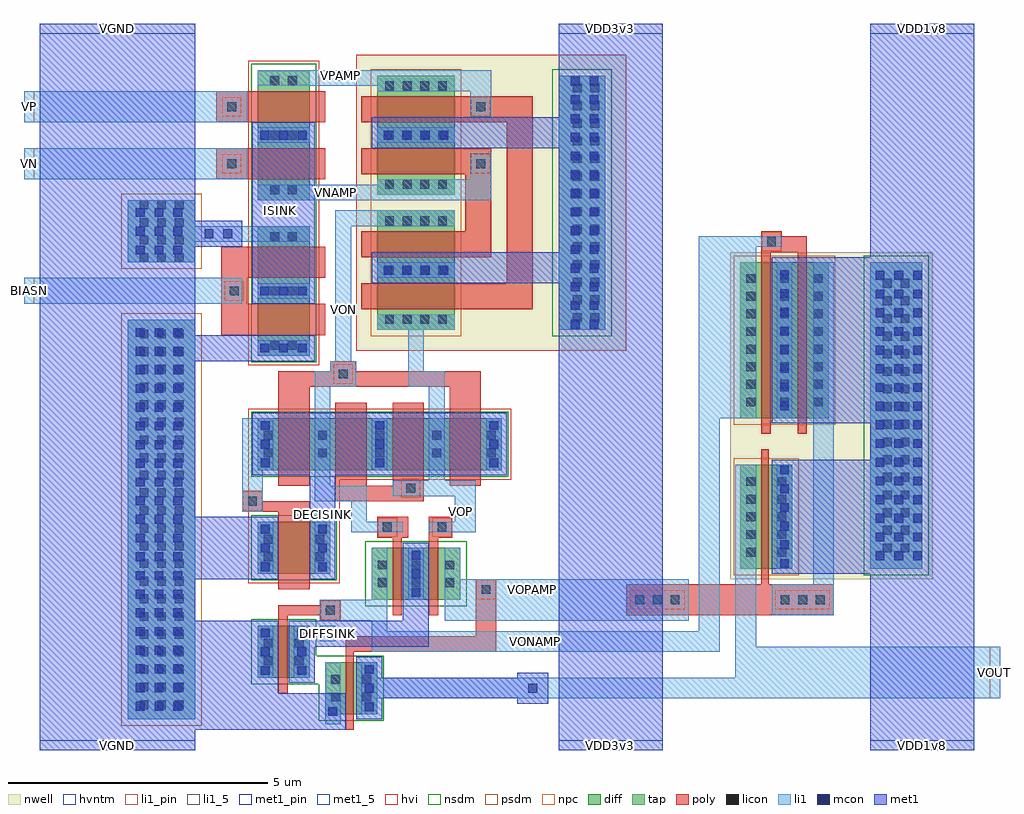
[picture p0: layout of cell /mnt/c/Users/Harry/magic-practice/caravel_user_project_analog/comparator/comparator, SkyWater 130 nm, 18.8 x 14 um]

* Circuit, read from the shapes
.subckt /mnt/c/Users/Harry/magic-practice/caravel_user_project_analog/comparator/comparator BIASN DECISINK DIFFSINK ISINK VDD1v8 VDD3v3 VGND VN VNAMP VON VONAMP VOP VOPAMP VOUT VP VPAMP
XM1 ISINK BIASN VGND VGND sky130_fd_pr__nfet_g5v0d10v5 w=1 l=0.6 m=2
XM2 ISINK VN VNAMP VGND sky130_fd_pr__nfet_g5v0d10v5 w=1 l=0.6
XM3 VPAMP VP ISINK VGND sky130_fd_pr__nfet_g5v0d10v5 w=1 l=0.6
XM4 DIFFSINK VONAMP VGND VGND sky130_fd_pr__nfet_01v8 w=1 l=0.18
XM5 DECISINK DECISINK VGND VGND sky130_fd_pr__nfet_g5v0d10v5 w=1 l=0.6
XM6 VON VON DECISINK VGND sky130_fd_pr__nfet_g5v0d10v5 w=1 l=0.6
XM7 DECISINK VOP VON VGND sky130_fd_pr__nfet_g5v0d10v5 w=1 l=0.6
XM8 VOUT VOPAMP VGND VGND sky130_fd_pr__nfet_01v8 w=1 l=0.15
XM9 DIFFSINK VON VONAMP VGND sky130_fd_pr__nfet_01v8 w=1 l=0.18
XM10 VOP VOP DECISINK VGND sky130_fd_pr__nfet_g5v0d10v5 w=1 l=0.6
XM11 VOPAMP VOP DIFFSINK VGND sky130_fd_pr__nfet_01v8 w=1 l=0.18
XM12 DECISINK VON VOP VGND sky130_fd_pr__nfet_g5v0d10v5 w=1 l=0.6
XM13 VDD3v3 VPAMP VOP VDD3v3 sky130_fd_pr__pfet_g5v0d10v5 w=1.5 l=0.5
XM14 VON VNAMP VDD3v3 VDD3v3 sky130_fd_pr__pfet_g5v0d10v5 w=1.5 l=0.5
XM15 VDD3v3 VNAMP VNAMP VDD3v3 sky130_fd_pr__pfet_g5v0d10v5 w=1.5 l=0.5
XM16 VPAMP VPAMP VDD3v3 VDD3v3 sky130_fd_pr__pfet_g5v0d10v5 w=1.5 l=0.5
XM17 VDD1v8 VOPAMP VOUT VDD1v8 sky130_fd_pr__pfet_01v8 w=2 l=0.15
XM18 VDD1v8 VONAMP VONAMP VDD1v8 sky130_fd_pr__pfet_01v8 w=3 l=0.18
XM19 VOPAMP VONAMP VDD1v8 VDD1v8 sky130_fd_pr__pfet_01v8 w=3 l=0.18
.ends

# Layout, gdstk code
import gdstk
lib = gdstk.Library(unit=1e-6, precision=1e-09)
def R(c, l, rs):  # rectangles x0, y0, x1, y1
    for r in rs: c.add(gdstk.rectangle(r[:2], r[2:], *l))
def A(c, l, x, y, w, h, nx, ny, dx, dy):  # array of equal rectangles
    R(c, l, [(x+i*dx, y+j*dy, x+i*dx+w, y+j*dy+h) for i in range(nx) for j in range(ny)])
nwell = (64, 20)
diff = (65, 20)
tap = (65, 44)
poly = (66, 20)
licon = (66, 44)
li1_5 = (67, 5)
li1_pin = (67, 16)
li1 = (67, 20)
mcon = (67, 44)
met1_5 = (68, 5)
met1_pin = (68, 16)
met1 = (68, 20)
hvi = (75, 20)
nsdm = (93, 44)
psdm = (94, 20)
npc = (95, 20)
hvntm = (125, 20)

c__mnt_c_users_harry_magic = lib.new_cell('/mnt/c/Users/Harry/magic-practice/caravel_user_project_analog/comparator/comparator')
R(c__mnt_c_users_harry_magic, nwell, [(9.3,-7.7,13.2,-1.4), (2.1,-3.3,7.3,2.4)])
R(c__mnt_c_users_harry_magic, diff, [(1.5,-10.3,2.5,-9.3), (0.2,-9.6,1.2,-8.6), (2.4,-8.1,4.1,-7.1), (0.2,-7.6,1.6,-6.6), (9.5,-7.5,10.5,-5.5), (0.2,-5.6,4.9,-4.6), (9.5,-4.6,11.2,-1.6), (0.2,-3.4,1.2,-0.9), (2.5,-2.9,4,-0.6), (0.2,-0.4,1.2,2.1), (2.5,-0.3,4,2)])
R(c__mnt_c_users_harry_magic, tap, [(-2.3,-10.4,-1,-2.7), (12,-7.5,13,-1.6), (6,-2.9,6.9,2), (-2.3,-1.6,-1,-0.4)])
R(c__mnt_c_users_harry_magic, poly, [(1.9,-10.6,2.05,-9.1), (0.6,-9.9,0.78,-8.4), (1.9,-9.1,4.8,-8.8), (4.4,-8.8,4.8,-7.7), (1.4,-8.5,1.8,-8.4), (0.6,-8.4,1.8,-8.2), (2.8,-8.4,2.98,-6.9), (3.5,-8.4,3.68,-6.9), (7.3,-8.4,11.3,-7.8), (1.4,-8.2,1.8,-8.1), (0.6,-7.9,1.2,-6.4), (9.9,-7.8,10.05,-5.2), (2.5,-6.9,3.1,-6.5), (3.5,-6.9,3.95,-6.5), (-0.1,-6.4,1.2,-6.2), (-0.1,-6.2,0.3,-6), (1.7,-6.2,3.4,-5.9), (0.6,-5.9,1.2,-4), (1.7,-5.9,2.3,-4.3), (2.8,-5.9,3.4,-4.3), (3.9,-5.9,4.5,-4), (9.9,-4.9,10.08,-1.4), (10.6,-4.9,10.78,-1.4), (0.6,-4,4.5,-3.7), (1.6,-3.7,2.1,-3.5), (-0.5,-3,1.5,-2.4), (2.2,-2.5,5.5,-2), (-0.5,-2.4,0,-1.9), (5,-2,5.5,1.1), (-0.5,-1.9,1.5,-1.3), (2.2,-1.5,4.7,-1), (9.9,-1.4,10.78,-1.1), (9.9,-1.1,10.3,-1), (4.2,-1,4.7,0.1), (-0.6,0,1.5,0.6), (2.2,0.1,4.7,0.6), (-0.6,1.1,1.5,1.7), (2.2,1.1,5.5,1.6)])
A(c__mnt_c_users_harry_magic, licon, -2.075, -10.205, 0.17, 0.17, 3, 22, 0.34, 0.34)
A(c__mnt_c_users_harry_magic, licon, 7.475, -8.185, 0.17, 0.17, 3, 1, 0.34, 0)
A(c__mnt_c_users_harry_magic, licon, 10.275, -8.185, 0.17, 0.17, 3, 1, 0.34, 0)
A(c__mnt_c_users_harry_magic, licon, 2.515, -7.855, 0.17, 0.17, 3, 2, 0.65, 0.34)
A(c__mnt_c_users_harry_magic, licon, 9.615, -7.265, 0.17, 0.17, 1, 5, 0, 0.34)
A(c__mnt_c_users_harry_magic, licon, 10.215, -7.265, 0.17, 0.17, 1, 5, 0, 0.34)
A(c__mnt_c_users_harry_magic, licon, 12.245, -7.185, 0.17, 0.17, 1, 16, 0, 0.34)
A(c__mnt_c_users_harry_magic, licon, 12.585, -7.185, 0.17, 0.17, 1, 16, 0, 0.34)
A(c__mnt_c_users_harry_magic, licon, 1.365, -5.355, 0.17, 0.17, 3, 2, 1.1, 0.34)
A(c__mnt_c_users_harry_magic, licon, 9.615, -4.375, 0.17, 0.17, 3, 8, 0.65, 0.34)
A(c__mnt_c_users_harry_magic, licon, 0.445, -3.285, 0.17, 0.17, 1, 3, 0, 1.05)
A(c__mnt_c_users_harry_magic, licon, 0.785, -3.285, 0.17, 0.17, 1, 3, 0, 1.05)
A(c__mnt_c_users_harry_magic, licon, 2.655, -2.785, 0.17, 0.17, 4, 3, 0.34, 0.95)
A(c__mnt_c_users_harry_magic, licon, 6.27, -2.745, 0.17, 0.17, 1, 14, 0, 0.34)
A(c__mnt_c_users_harry_magic, licon, 6.61, -2.745, 0.17, 0.17, 1, 14, 0, 0.34)
A(c__mnt_c_users_harry_magic, licon, -2.075, -1.595, 0.17, 0.17, 3, 4, 0.34, 0.34)
A(c__mnt_c_users_harry_magic, licon, 0.445, -0.285, 0.17, 0.17, 1, 3, 0, 1.05)
A(c__mnt_c_users_harry_magic, licon, 0.785, -0.285, 0.17, 0.17, 1, 3, 0, 1.05)
A(c__mnt_c_users_harry_magic, licon, 2.655, -0.185, 0.17, 0.17, 4, 3, 0.34, 0.95)
R(c__mnt_c_users_harry_magic, licon, [(1.615,-10.055,1.785,-9.885), (2.215,-10.055,2.385,-9.885), (1.615,-9.715,1.785,-9.545), (2.215,-9.715,2.385,-9.545), (0.315,-9.355,0.485,-9.185), (0.915,-9.355,1.085,-9.185), (0.315,-9.015,0.485,-8.845), (0.915,-9.015,1.085,-8.845), (1.515,-8.385,1.685,-8.215), (4.515,-7.985,4.685,-7.815), (0.315,-7.355,0.485,-7.185), (1.315,-7.355,1.485,-7.185), (0.315,-7.015,0.485,-6.845), (1.315,-7.015,1.485,-6.845), (2.615,-6.785,2.785,-6.615), (3.665,-6.785,3.835,-6.615), (0.015,-6.285,0.185,-6.115), (3.065,-6.035,3.235,-5.865), (0.315,-5.355,0.485,-5.185), (4.615,-5.355,4.785,-5.185), (0.315,-5.015,0.485,-4.845), (4.615,-5.015,4.785,-4.845), (1.765,-3.835,1.935,-3.665), (-0.335,-2.235,-0.165,-2.065), (10.015,-1.285,10.185,-1.115), (-0.385,0.215,-0.215,0.385), (4.415,0.215,4.585,0.385), (-0.385,1.315,-0.215,1.485), (4.415,1.315,4.585,1.485)])
R(c__mnt_c_users_harry_magic, li1_5, [(5.4,-9,5.7,-8.8), (5.4,-8,5.6,-7.8), (4,-6.5,4.2,-6.3), (1.8,-2.6,1.9,-2.4), (1.6,-0.3,1.8,-0.2), (1.7,1.9,1.9,2.1)])
R(c__mnt_c_users_harry_magic, li1_pin, [(14.3,-10,14.5,-9), (-4.3,-2.4,-4.1,-1.9), (-4.3,0,-4.1,0.6), (-4.3,1.1,-4.1,1.7)])
R(c__mnt_c_users_harry_magic, li1, [(1.5,-10.5,1.8,-9.3), (-2.3,-10.4,-1,-2.7), (2.2,-10.3,2.5,-10), (2.2,-10,14.5,-9.6), (0.2,-9.6,0.5,-8.6), (0.9,-9.6,1.2,-8.6), (2.2,-9.6,2.5,-9.3), (9.4,-9.6,14.5,-9), (2.4,-9.1,9.1,-8.7), (9.4,-9,9.8,-5.5), (2.4,-8.7,2.7,-8.5), (8.7,-8.7,9.1,-4.6), (1.4,-8.5,2.7,-8.1), (3.8,-8.5,8.5,-7.7), (10.1,-8.4,11.3,-7.8), (2.4,-8.1,2.7,-7.1), (3.1,-8.1,3.4,-7.1), (10.9,-7.8,11.3,-1.6), (3.8,-7.7,4.1,-7.1), (0.2,-7.6,0.5,-6.6), (1.3,-7.6,1.6,-6.6), (10.2,-7.5,10.5,-5.5), (12,-7.5,13,-1.6), (2,-6.8,3,-6.6), (3.5,-6.8,4.4,-6.6), (2,-6.6,2.3,-6.2), (4,-6.6,4.4,-6.1), (-0.1,-6.4,0.3,-5.6), (1.3,-6.2,2.3,-5.9), (2.8,-6.1,4.4,-5.8), (1.3,-5.9,1.6,-4), (3.5,-5.8,3.8,-4), (-0.1,-5.6,0.5,-4.6), (2.4,-5.6,2.7,-4.6), (4.6,-5.6,4.9,-4.6), (8.7,-4.6,9.8,-1.3), (10.2,-4.6,10.5,-1.6), (1.3,-4,2.1,-3.7), (3.1,-4,3.8,-3.7), (1.6,-3.7,2.1,-3.5), (3.1,-3.7,3.4,-2.9), (1.7,-3.5,2,-0.9), (0.2,-3.4,1.2,-3.1), (2.5,-2.9,4,-2.6), (6,-2.9,6.9,2), (-4.3,-2.4,-0.1,-1.9), (0.2,-2.3,1.2,-2), (2.5,-1.9,4,-1.6), (-2.3,-1.6,-1,-1.2), (8.7,-1.3,10.3,-1.1), (-2.3,-1.2,1.2,-0.9), (-2.3,-0.9,-1,-0.4), (1.7,-0.9,4,-0.6), (0.2,-0.4,4.7,-0.1), (2.5,-0.1,4.7,0), (-4.3,0,0,0.6), (4.3,0,4.7,0.5), (0.2,0.7,1.2,1), (2.5,0.7,4,1), (-4.3,1.1,0,1.7), (4.3,1.2,4.7,1.7), (2.5,1.7,4.7,1.8), (0.2,1.8,4.7,2.1)])
A(c__mnt_c_users_harry_magic, mcon, 2.265, -10.245, 0.17, 0.17, 1, 3, 0, 0.36)
A(c__mnt_c_users_harry_magic, mcon, -2.145, -10.235, 0.17, 0.17, 3, 21, 0.36, 0.36)
A(c__mnt_c_users_harry_magic, mcon, 0.265, -9.545, 0.17, 0.17, 1, 3, 0, 0.36)
A(c__mnt_c_users_harry_magic, mcon, 0.965, -9.545, 0.17, 0.17, 1, 3, 0, 0.36)
A(c__mnt_c_users_harry_magic, mcon, 3.165, -8.045, 0.17, 0.17, 1, 3, 0, 0.36)
A(c__mnt_c_users_harry_magic, mcon, 0.265, -7.545, 0.17, 0.17, 1, 3, 0, 0.36)
A(c__mnt_c_users_harry_magic, mcon, 1.365, -7.545, 0.17, 0.17, 1, 3, 0, 0.36)
A(c__mnt_c_users_harry_magic, mcon, 10.265, -7.485, 0.17, 0.17, 1, 6, 0, 0.36)
A(c__mnt_c_users_harry_magic, mcon, 12.105, -7.335, 0.17, 0.17, 3, 16, 0.36, 0.36)
A(c__mnt_c_users_harry_magic, mcon, 0.265, -5.545, 0.17, 0.17, 3, 3, 2.2, 0.36)
A(c__mnt_c_users_harry_magic, mcon, 10.265, -4.445, 0.17, 0.17, 1, 8, 0, 0.36)
A(c__mnt_c_users_harry_magic, mcon, 0.255, -3.335, 0.17, 0.17, 3, 2, 0.36, 1.1)
A(c__mnt_c_users_harry_magic, mcon, 6.235, -2.875, 0.17, 0.17, 1, 14, 0, 0.36)
A(c__mnt_c_users_harry_magic, mcon, 6.595, -2.875, 0.17, 0.17, 1, 14, 0, 0.36)
A(c__mnt_c_users_harry_magic, mcon, 2.625, -1.835, 0.17, 0.17, 4, 2, 0.36, 2.6)
A(c__mnt_c_users_harry_magic, mcon, -2.145, -1.445, 0.17, 0.17, 3, 3, 0.36, 0.36)
A(c__mnt_c_users_harry_magic, mcon, 0.255, 0.765, 0.17, 0.17, 3, 1, 0.36, 0)
R(c__mnt_c_users_harry_magic, mcon, [(1.565,-10.335,1.735,-10.165), (5.415,-9.885,5.585,-9.715), (-0.82,-1.135,-0.65,-0.965), (-0.46,-1.135,-0.29,-0.965)])
R(c__mnt_c_users_harry_magic, met1_5, [(1.4,-8.9,1.7,-8.6), (1.4,-6.5,1.5,-6.4), (0.5,-0.7,0.8,-0.5)])
R(c__mnt_c_users_harry_magic, met1_pin, [(-4,-11,-1,-10.8), (6,-11,8,-10.8), (12,-11,14,-10.8), (-4,2.8,-1,3), (6,2.8,8,3), (12,2.8,14,3)])
R(c__mnt_c_users_harry_magic, met1, [(-4,-11,-1,-10.6), (6,-11,8,-2), (12,-11,14,-7.6), (-4,-10.6,1.9,-9.9), (2.1,-10.4,2.6,-10), (5.2,-10.1,5.8,-10), (2.1,-10,5.8,-9.6), (-4,-9.9,0.6,-8.5), (0.8,-9.7,1.3,-9), (2.1,-9.6,2.6,-9.2), (5.2,-9.6,5.8,-9.5), (0.8,-9,3.5,-8.5), (-4,-8.5,-1,-7.7), (3,-8.5,3.5,-7), (-4,-7.7,0.6,-6.5), (1.2,-7.7,1.7,-5.7), (10.1,-7.6,14,-5.4), (-4,-6.5,-1,-3.5), (0.1,-5.7,5,-4.5), (12,-5.4,14,-4.7), (10.1,-4.7,14,-1.5), (-4,-3.5,1.3,-3), (-4,-3,-1,-1.3), (0.1,-2.4,1.3,1.1), (2.4,-2,8,-1.4), (12,-1.5,14,3), (6,-1.4,8,0.6), (-4,-1.3,-0.1,-0.8), (-4,-0.8,-1,3), (2.4,0.6,8,1.2), (6,1.2,8,3)])
R(c__mnt_c_users_harry_magic, hvi, [(0.015,-7.785,1.785,-5.785), (0.015,-5.785,5.085,-4.415), (0.015,-3.585,1.385,2.285), (2.1,-3.3,7.3,2.4)])
R(c__mnt_c_users_harry_magic, nsdm, [(1.375,-10.425,2.625,-9.725), (0.075,-9.725,2.625,-9.175), (0.075,-9.175,1.325,-8.475), (2.275,-8.225,4.225,-6.975), (0.075,-7.725,1.725,-6.475), (11.875,-7.625,13.125,-1.475), (0.075,-5.725,5.025,-4.475), (0.075,-3.525,1.325,2.225), (5.875,-3.025,7.025,2.125)])
R(c__mnt_c_users_harry_magic, psdm, [(-2.425,-10.525,-0.875,-2.575), (9.375,-7.625,10.625,-5.375), (9.375,-4.725,11.325,-1.475), (2.375,-3.025,4.125,2.125), (-2.425,-1.725,-0.875,-0.275)])
R(c__mnt_c_users_harry_magic, npc, [(1.415,-8.485,1.785,-8.115), (7.375,-8.285,8.425,-7.915), (10.175,-8.285,11.225,-7.915), (4.415,-8.085,4.785,-7.715), (2.515,-6.885,2.885,-6.515), (3.565,-6.885,3.935,-6.515), (-0.085,-6.385,0.285,-6.015), (2.965,-6.135,3.335,-5.765), (1.665,-3.935,2.035,-3.565), (-0.435,-2.335,-0.065,-1.965), (9.915,-1.385,10.285,-1.015), (-0.485,0.115,-0.115,0.485), (4.315,0.115,4.685,0.485), (-0.485,1.215,-0.115,1.585), (4.315,1.215,4.685,1.585)])
R(c__mnt_c_users_harry_magic, hvntm, [(0.015,-7.785,1.785,-5.785), (0.015,-5.785,5.085,-4.415), (0.015,-3.585,1.385,2.285)])
c__mnt_c_users_harry_magic.add(gdstk.Label('VOPAMP', (5.5,-7.9), layer=67, texttype=5))
c__mnt_c_users_harry_magic.add(gdstk.Label('VOP', (4.1,-6.4), layer=67, texttype=5))
c__mnt_c_users_harry_magic.add(gdstk.Label('VPAMP', (1.8,2), layer=67, texttype=5))
c__mnt_c_users_harry_magic.add(gdstk.Label('VNAMP', (1.7,-0.25), layer=67, texttype=5))
c__mnt_c_users_harry_magic.add(gdstk.Label('VON', (1.85,-2.5), layer=67, texttype=5))
c__mnt_c_users_harry_magic.add(gdstk.Label('ISINK', (0.65,-0.6), layer=68, texttype=5))
c__mnt_c_users_harry_magic.add(gdstk.Label('DECISINK', (1.45,-6.45), layer=68, texttype=5))
c__mnt_c_users_harry_magic.add(gdstk.Label('VONAMP', (5.55,-8.9), layer=67, texttype=5))
c__mnt_c_users_harry_magic.add(gdstk.Label('DIFFSINK', (1.55,-8.75), layer=68, texttype=5))
c__mnt_c_users_harry_magic.add(gdstk.Label('VGND', (-2.5,-10.9), layer=68, texttype=16))
c__mnt_c_users_harry_magic.add(gdstk.Label('VGND', (-2.5,2.9), layer=68, texttype=16))
c__mnt_c_users_harry_magic.add(gdstk.Label('VDD3v3', (7,-10.9), layer=68, texttype=16))
c__mnt_c_users_harry_magic.add(gdstk.Label('VDD3v3', (7,2.9), layer=68, texttype=16))
c__mnt_c_users_harry_magic.add(gdstk.Label('VDD1v8', (13,-10.9), layer=68, texttype=16))
c__mnt_c_users_harry_magic.add(gdstk.Label('VDD1v8', (13,2.9), layer=68, texttype=16))
c__mnt_c_users_harry_magic.add(gdstk.Label('VOUT', (14.4,-9.5), layer=67, texttype=16))
c__mnt_c_users_harry_magic.add(gdstk.Label('BIASN', (-4.2,-2.15), layer=67, texttype=16))
c__mnt_c_users_harry_magic.add(gdstk.Label('VN', (-4.2,0.3), layer=67, texttype=16))
c__mnt_c_users_harry_magic.add(gdstk.Label('VP', (-4.2,1.4), layer=67, texttype=16))

lib.write_gds('_mnt_c_Users_Harry_magic-practice_caravel_user_project_analog_comparator_comparator.gds')
